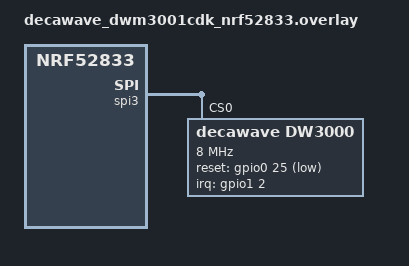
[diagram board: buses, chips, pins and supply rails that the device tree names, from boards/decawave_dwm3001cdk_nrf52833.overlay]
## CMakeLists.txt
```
cmake_minimum_required(VERSION 3.20.0)

list(APPEND ZEPHYR_EXTRA_MODULES
    ${CMAKE_CURRENT_SOURCE_DIR}/../../modules/zephyr-dw3000-decadriver
)

find_package(Zephyr REQUIRED HINTS $ENV{ZEPHYR_BASE})

# The pinned decadriver includes "version.h"; Zephyr 4.5 moved it under zephyr/.
# Add the generated header directory without modifying the driver submodule.
zephyr_include_directories(${ZEPHYR_BINARY_DIR}/include/generated/zephyr)
project(uwb_slave)

target_sources(app PRIVATE src/main.c)
```

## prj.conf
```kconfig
CONFIG_DW3000=y
CONFIG_DW3000_CHIP_DW3000=y
CONFIG_SPI=y
CONFIG_GPIO=y
CONFIG_FPU=y
CONFIG_MAIN_STACK_SIZE=4096
CONFIG_LOG=y
CONFIG_LOG_DEFAULT_LEVEL=2
CONFIG_LOG_MODE_IMMEDIATE=y
```

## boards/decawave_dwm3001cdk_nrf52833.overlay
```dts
/* DWM3001CDK DW3110 wiring adapted from svhoy board DTS */
// https://github.com/svhoy/uwb_zephyr_dwm3001cdk

&spi3 {
    dw3000: dw3000@0 {
        compatible = "decawave,dw3000";
        spi-max-frequency = <8000000>;
        reg = <0>;
        reset-gpios = <&gpio0 25 GPIO_ACTIVE_LOW>;
        irq-gpios = <&gpio1 2 GPIO_ACTIVE_HIGH>;
    };
};
```

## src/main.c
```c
/*
 * dodgit - UWB ranging demo, SLAVE (DWM3001CDK)
 *
 * Power this board from a battery and leave it. It never starts anything: it
 * listens for a POLL from examples/uwb_master and answers the DS-TWR exchange
 * (see the diagram in uwb_master/src/main.c). It only records timestamps; the
 * master calculates the distance.
 *
 *   MASTER                                        SLAVE
 *   POLL     ------------------------------->    poll_rx  = RX time
 *   RESPONSE <-------------------------------    resp_tx  = TX time
 *   FINAL    ------------------------------->    final_rx = RX time
 *   REPORT   <-------------------------------    carries poll_rx, resp_tx, final_rx
 *
 * LEDs: led0 (green) toggles after every completed exchange,
 *       led1 + led2 (red) steady = radio init failed.
 */

#include <string.h>
#include <errno.h>
#include <zephyr/kernel.h>
#include <zephyr/sys/byteorder.h>
#include <zephyr/drivers/gpio.h>
#include <deca_device_api.h>
#include <deca_probe_interface.h>
#include <dw3000_hw.h>
#include <dw3000_spi.h>
#include "dw3000/dw3000_deca_regs.h"

/* ---------------------------------------------------------------------------
 * Settings (must match uwb_master)
 * ------------------------------------------------------------------------- */
#define ANTENNA_DELAY 16385  /* generic default, not calibrated per board */
#define RX_TIMEOUT_UUS 15000 /* radio gives up listening after ~15 ms, then we listen again */
#define SW_TIMEOUT_MS 25     /* software guard around every TX/RX wait */

#define MASTER_ID 1
#define SLAVE_ID 2
#define PAN_ID 0xD048
#define HEADER_LEN 10
#define CRC_LEN 2
#define MAX_FRAME 32

#define MSG_POLL 0x31
#define MSG_RESPONSE 0x32
#define MSG_FINAL 0x33
#define MSG_REPORT 0x34

#define POLL_PAYLOAD 0
#define RESPONSE_PAYLOAD 0
#define FINAL_PAYLOAD 12  /* poll_tx, resp_rx, final_tx (unused by the slave) */
#define REPORT_PAYLOAD 12 /* poll_rx, resp_tx, final_rx */

static const struct gpio_dt_spec led_green = GPIO_DT_SPEC_GET(DT_ALIAS(led0), gpios);
static const struct gpio_dt_spec led_red1 = GPIO_DT_SPEC_GET(DT_ALIAS(led1), gpios);
static const struct gpio_dt_spec led_red2 = GPIO_DT_SPEC_GET(DT_ALIAS(led2), gpios);

/* ---------------------------------------------------------------------------
 * DW3000 radio setup (identical to the master)
 * ------------------------------------------------------------------------- */
static uint32_t last_status;

static dwt_config_t radio_config = {
    5, DWT_PLEN_128, DWT_PAC8, 9, 9, 1, DWT_BR_6M8,
    DWT_PHRMODE_STD, DWT_PHRRATE_STD, 129,
    DWT_STS_MODE_OFF, DWT_STS_LEN_64, DWT_PDOA_M0,
};

/* Stop whatever the radio is doing and clear all RX/TX status flags. */
static void radio_reset_state(void)
{
  dwt_forcetrxoff();
  dwt_writesysstatuslo(SYS_STATUS_ALL_RX_GOOD | SYS_STATUS_ALL_RX_ERR |
                       SYS_STATUS_ALL_RX_TO | SYS_STATUS_TXFRS_BIT_MASK);
}

static int radio_init(void)
{
  if (dw3000_hw_init() < 0)
  {
    return -ENODEV;
  }
  dw3000_hw_reset();
  k_msleep(10);

  if (dwt_probe((struct dwt_probe_s *)&dw3000_probe_interf) != DWT_SUCCESS)
  {
    return -ENODEV;
  }
  printk("DW3000 device ID: 0x%08x\n", dwt_readdevid());

  int64_t deadline = k_uptime_get() + 100;
  while (!dwt_checkidlerc())
  {
    if (k_uptime_get() >= deadline)
    {
      return -ETIMEDOUT;
    }
    k_msleep(1);
  }

  if (dwt_initialise(0) != DWT_SUCCESS)
  {
    return -EIO;
  }
  dw3000_spi_speed_fast();
  if (dwt_configure(&radio_config) != DWT_SUCCESS)
  {
    return -EIO;
  }

  dwt_txconfig_t tx_rf = {0x34, 0xFDFDFDFD, 0};
  dwt_configuretxrf(&tx_rf);
  dwt_settxantennadelay(ANTENNA_DELAY);
  dwt_setrxantennadelay(ANTENNA_DELAY);
  dwt_setrxaftertxdelay(0);
  dwt_setrxtimeout(RX_TIMEOUT_UUS);
  radio_reset_state();
  return 0;
}

/* ---------------------------------------------------------------------------
 * Frame helpers (identical to the master, except frame_receive takes seq < 0
 * to accept any sequence number: the slave learns it from the POLL)
 * ------------------------------------------------------------------------- */
static void frame_header(uint8_t *f, uint8_t type, uint8_t src, uint8_t dst, uint8_t seq)
{
  memset(f, 0, MAX_FRAME);
  f[0] = 0x41; /* data frame, PAN ID compression, short addresses */
  f[1] = 0x88;
  f[2] = seq;
  sys_put_le16(PAN_ID, f + 3);
  sys_put_le16(dst, f + 5);
  sys_put_le16(src, f + 7);
  f[9] = type;
}

static int frame_send(uint8_t *f, unsigned payload_len, uint8_t mode)
{
  unsigned len = HEADER_LEN + payload_len + CRC_LEN;

  dwt_writesysstatuslo(SYS_STATUS_TXFRS_BIT_MASK);
  if (dwt_writetxdata(len, f, 0) != DWT_SUCCESS)
  {
    return -EIO;
  }
  dwt_writetxfctrl(len, 0, 1); /* last arg 1 = this is a ranging frame */
  return dwt_starttx(mode) == DWT_SUCCESS ? 0 : -ETIME;
}

/* Wait until the last frame has really left the antenna. */
static int frame_wait_sent(void)
{
  int64_t deadline = k_uptime_get() + SW_TIMEOUT_MS;

  do
  {
    last_status = dwt_readsysstatuslo();
    if (last_status & SYS_STATUS_TXFRS_BIT_MASK)
    {
      return 0;
    }
    k_usleep(100);
  } while (k_uptime_get() < deadline);

  radio_reset_state();
  return -ETIMEDOUT;
}

static int frame_receive(uint8_t *f, unsigned payload_len, uint8_t type,
                         uint8_t src, uint8_t dst, int seq)
{
  int64_t deadline = k_uptime_get() + SW_TIMEOUT_MS;

  do
  {
    last_status = dwt_readsysstatuslo();

    if (last_status & SYS_STATUS_RXFCG_BIT_MASK) /* frame received, CRC good */
    {
      uint16_t len = dwt_getframelength(NULL);
      dwt_writesysstatuslo(SYS_STATUS_RXFCG_BIT_MASK | SYS_STATUS_TXFRS_BIT_MASK);
      if (len != HEADER_LEN + payload_len + CRC_LEN || len > MAX_FRAME)
      {
        return -EBADMSG;
      }
      dwt_readrxdata(f, len, 0);
      if (f[0] != 0x41 || f[1] != 0x88 || sys_get_le16(f + 3) != PAN_ID ||
          sys_get_le16(f + 5) != dst || sys_get_le16(f + 7) != src ||
          f[9] != type || (seq >= 0 && f[2] != seq))
      {
        return -EBADMSG;
      }
      return 0;
    }
    if (last_status & (SYS_STATUS_ALL_RX_ERR | SYS_STATUS_ALL_RX_TO))
    {
      radio_reset_state();
      return -EIO; /* hardware RX error or RX timeout */
    }
    k_usleep(100);
  } while (k_uptime_get() < deadline);

  radio_reset_state();
  return -ETIMEDOUT;
}

/* 40-bit RX timestamp of the last received frame, in device time units. */
static uint64_t rx_timestamp(void)
{
  uint8_t ts[5];
  uint64_t value = 0;

  dwt_readrxtimestamp(ts, DWT_COMPAT_NONE);
  for (int i = 4; i >= 0; i--)
  {
    value = (value << 8) | ts[i];
  }
  return value;
}

/* ---------------------------------------------------------------------------
 * Answer one ranging exchange. Returns 0 if all four frames were handled;
 * a negative errno means "nothing (valid) heard" and the caller just listens again.
 * ------------------------------------------------------------------------- */
static int respond_once(void)
{
  uint8_t f[MAX_FRAME];
  int rc;

  /* 1. Listen for a POLL from the master. */
  radio_reset_state();
  if (dwt_rxenable(DWT_START_RX_IMMEDIATE) != DWT_SUCCESS)
  {
    return -EIO;
  }
  rc = frame_receive(f, POLL_PAYLOAD, MSG_POLL, MASTER_ID, SLAVE_ID, -1);
  if (rc)
  {
    return rc;
  }
  uint32_t poll_rx = (uint32_t)rx_timestamp();
  uint8_t seq = f[2];

  /* 2. RESPONSE right away; the radio switches to RX afterwards to catch FINAL.
   * The delay between POLL and RESPONSE does not have to be fixed: DS-TWR uses
   * the real timestamps (poll_rx, resp_tx), whatever the delay turned out to be. */
  frame_header(f, MSG_RESPONSE, SLAVE_ID, MASTER_ID, seq);
  rc = frame_send(f, RESPONSE_PAYLOAD, DWT_START_TX_IMMEDIATE | DWT_RESPONSE_EXPECTED);
  if (rc)
  {
    radio_reset_state();
    return rc;
  }

  /* 3. Wait for FINAL, then read our two remaining timestamps. */
  rc = frame_receive(f, FINAL_PAYLOAD, MSG_FINAL, MASTER_ID, SLAVE_ID, seq);
  if (rc)
  {
    return rc;
  }
  uint32_t final_rx = (uint32_t)rx_timestamp();
  uint32_t resp_tx = dwt_readtxtimestamplo32(); /* last TX was the RESPONSE */

  /* 4. REPORT our three timestamps to the master, which calculates the distance. */
  frame_header(f, MSG_REPORT, SLAVE_ID, MASTER_ID, seq);
  sys_put_le32(poll_rx, f + HEADER_LEN);
  sys_put_le32(resp_tx, f + HEADER_LEN + 4);
  sys_put_le32(final_rx, f + HEADER_LEN + 8);
  rc = frame_send(f, REPORT_PAYLOAD, DWT_START_TX_IMMEDIATE);
  if (rc)
  {
    radio_reset_state();
    return rc;
  }
  return frame_wait_sent();
}

/* ---------------------------------------------------------------------------
 * Main
 * ------------------------------------------------------------------------- */
int main(void)
{
  if (!gpio_is_ready_dt(&led_green) || !gpio_is_ready_dt(&led_red1) ||
      !gpio_is_ready_dt(&led_red2) ||
      gpio_pin_configure_dt(&led_green, GPIO_OUTPUT_INACTIVE) < 0 ||
      gpio_pin_configure_dt(&led_red1, GPIO_OUTPUT_INACTIVE) < 0 ||
      gpio_pin_configure_dt(&led_red2, GPIO_OUTPUT_INACTIVE) < 0)
  {
    printk("LED init failed\n");
    return 0;
  }

  int rc = radio_init();
  if (rc)
  {
    printk("UWB init failed: %d\n", rc);
    gpio_pin_set_dt(&led_red1, 1);
    gpio_pin_set_dt(&led_red2, 1);
    return 0;
  }
  printk("UWB slave ready: waiting for POLL\n");

  while (1)
  {
    if (respond_once() == 0)
    {
      gpio_pin_toggle_dt(&led_green);
    }
  }
}
```
